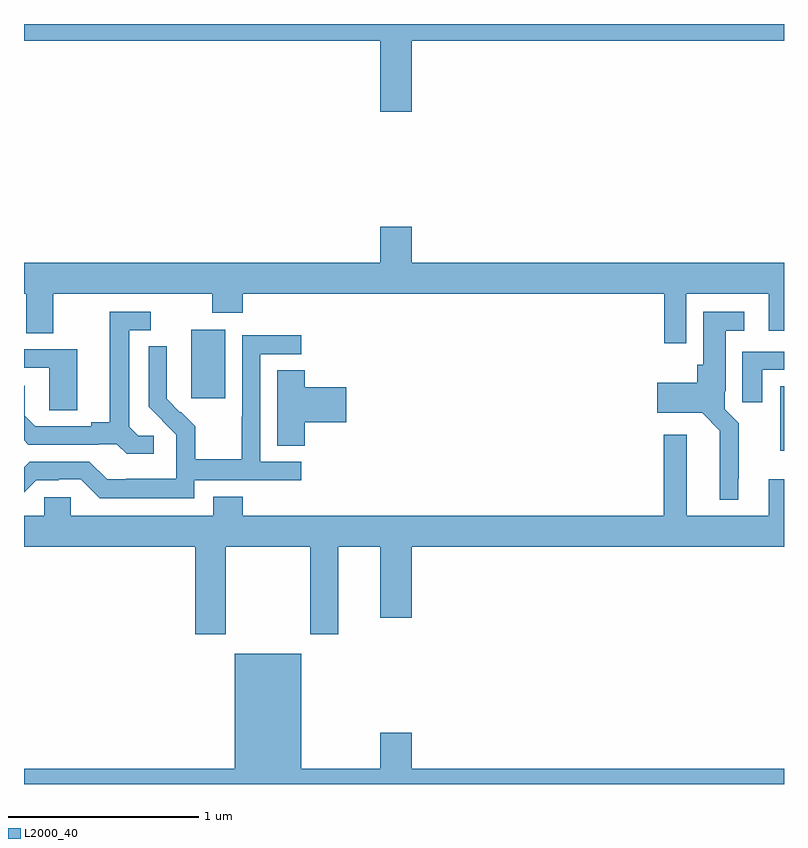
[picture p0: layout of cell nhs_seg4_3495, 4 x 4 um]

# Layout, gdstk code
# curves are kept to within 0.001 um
import gdstk
lib = gdstk.Library(unit=1e-6, precision=1e-09)
def R(c, l, rs):  # rectangles x0, y0, x1, y1
    for r in rs: c.add(gdstk.rectangle(r[:2], r[2:], *l))
def P(c, l, *ps):  # polygons
    for p in ps: c.add(gdstk.Polygon(p, *l))
L2000_40 = (2000, 40)

nhs_seg4_3495 = lib.new_cell('nhs_seg4_3495')
R(nhs_seg4_3495, L2000_40, [(298.979,802.653,299,802.994), (295.88,802.929,296.059,803.29)])
P(nhs_seg4_3495, L2000_40, [(297.04,804.812),(299,804.812),(299,804.9),(295,804.9),(295,804.812),(296.876,804.812),(296.876,804.438),(297.04,804.438)],
  [(298.485,803.48),(298.919,803.48),(298.919,803.286),(299,803.286),(299,803.644),(297.04,803.644),(297.04,803.833),(296.876,803.833),(296.876,803.644),(295,803.644),(295,803.48),(295.013,803.48),(295.013,803.272),(295.153,803.272),(295.153,803.48),(295.99,803.48),(295.99,803.381),(296.15,803.381),(296.15,803.48),(298.369,803.48),(298.369,803.22),(298.485,803.22)],
  [(298.759,802.507),(298.763,802.507),(298.763,802.798),(298.689,802.872),(298.689,802.966),(298.693,802.966),(298.693,803.285),(298.792,803.285),(298.792,803.386),(298.574,803.386),(298.574,803.106),(298.544,803.106),(298.544,803.011),(298.332,803.011),(298.332,802.853),(298.569,802.853),(298.662,802.76),(298.661,802.397),(298.759,802.397)],
  [(295.684,802.734),(295.602,802.734),(295.555,802.781),(295.555,803.289),(295.666,803.289),(295.666,803.385),(295.451,803.385),(295.451,802.805),(295.355,802.805),(295.355,802.782),(295.06,802.782),(295.003,802.839),(295.003,802.996),(295,802.996),(295,802.708),(295.022,802.686),(295.394,802.686),(295.394,802.689),(295.488,802.689),(295.54,802.637),(295.684,802.637)],
  [(295.896,802.5),(296.458,802.5),(296.458,802.596),(296.244,802.596),(296.244,803.163),(296.458,803.163),(296.458,803.262),(296.148,803.262),(296.148,802.832),(296.146,802.832),(296.146,802.609),(295.901,802.609),(295.901,802.783),(295.824,802.86),(295.821,802.857),(295.751,802.928),(295.752,803.204),(295.656,803.204),(295.656,802.886),(295.802,802.738),(295.802,802.641),(295.8,802.641),(295.8,802.507),(295.537,802.507),(295.537,802.503),(295.437,802.503),(295.344,802.596),(295.029,802.596),(295,802.567),(295,802.435),(295.065,802.5),(295.184,802.5),(295.184,802.503),(295.299,802.503),(295.399,802.403),(295.896,802.403)],
  [(295.279,803.187),(295,803.187),(295,803.091),(295.134,803.091),(295.134,802.867),(295.279,802.867)],
  [(298.885,803.079),(299,803.079),(299,803.175),(298.781,803.175),(298.781,802.908),(298.885,802.908)],
  [(296.477,802.805),(296.695,802.805),(296.695,802.988),(296.477,802.988),(296.477,803.078),(296.333,803.078),(296.333,802.681),(296.477,802.681)],
  [(299,802.504),(298.919,802.504),(298.919,802.312),(298.489,802.312),(298.489,802.738),(298.367,802.738),(298.367,802.312),(296.15,802.312),(296.15,802.411),(295.997,802.411),(295.997,802.312),(295.245,802.312),(295.245,802.41),(295.107,802.41),(295.107,802.312),(295,802.312),(295,802.148),(295.901,802.148),(295.901,801.687),(296.061,801.687),(296.061,802.148),(296.506,802.148),(296.506,801.687),(296.653,801.687),(296.653,802.148),(296.876,802.148),(296.876,801.774),(297.04,801.774),(297.04,802.148),(299,802.148)],
  [(299,800.98),(297.04,800.98),(297.04,801.169),(296.876,801.169),(296.876,800.98),(296.458,800.98),(296.458,801.586),(296.108,801.586),(296.108,800.98),(295,800.98),(295,800.9),(299,800.9)])

lib.write_gds('nhs_seg4_3495.gds')
